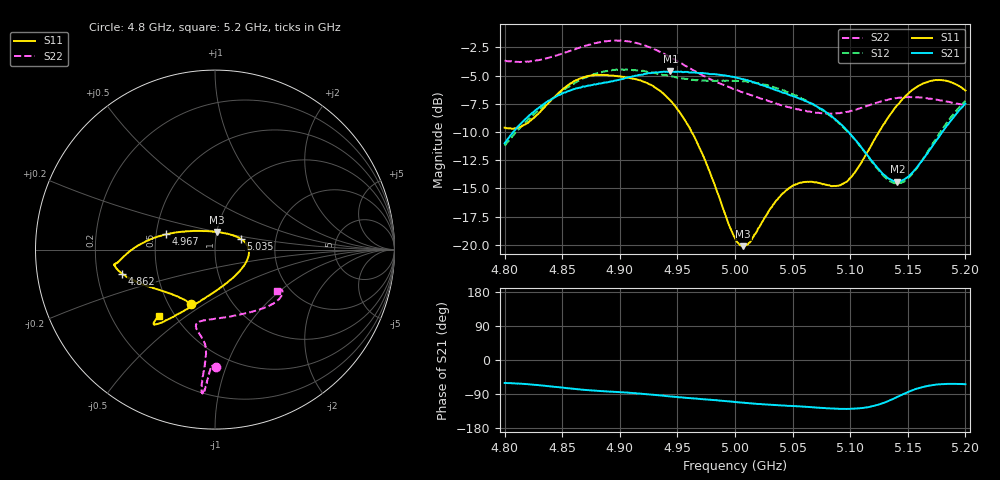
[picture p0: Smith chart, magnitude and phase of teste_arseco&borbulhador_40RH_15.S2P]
! Network Analyzer HP8722D
! Hewlett-Packard
! Data name: Linha & Wilkinson
! Saver's name: Rodrigo Anjos
! Comments: Teste da utilização de aquisição
! continua pelo VNA HP8722D
! Time and date: 15/4/2025 16:28
!  Frequency  S11  S21  S12  S22
# HZ  S  MA R 50
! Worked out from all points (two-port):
!   401 points, 4.8 GHz to 5.2 GHz, reference 50 ohm
!   highest |S21| = -4.63 dB at 4.944 GHz (marker M1); lowest = -14.4 dB at 5.141 GHz (marker M2)
!   |S21| within 3 dB of the highest: 4.833 GHz to 5.069 GHz (236.8 MHz wide, 4.78 % of centre); 5.198559 GHz to end of sweep
!   lowest |S11| = -20.1 dB at 5.007 GHz (marker M3), VSWR 1.22, Z = 50.1 + j9.92 ohm
!   |S11| at or under -10 dB: 4.962 GHz to 5.125 GHz (162.6 MHz wide, 3.22 % of centre)
!   |S22| runs from -8.4 to -1.9 dB; largest |S21 - S12| = 0.88
!   S11 on the Smith chart (normalised r, x): 4.8 GHz: 0.65, -0.44; 4.862 GHz: 0.31, -0.11; 4.967 GHz: 0.57, +0.10; 5.035 GHz: 1.32, +0.16; 5.2 GHz: 0.41, -0.40
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4.8e9  0.3306 -113.7  0.2817 -60.6  0.275 -175.0  0.6541 -89.5
4.819e9  0.3448 -133.6  0.3639 -63.5  0.3522 -173.2  0.648 -91.1
4.862e9  0.5359 -165.6  0.4936 -76.7  0.5252 -176.4  0.7403 -93.4
4.867e9  0.5495 -167.5  0.5001 -78.3  0.5422 -177.4  0.7537 -93.7
4.902e9  0.5552 -172.1  0.5428 -85.4  0.599 175.5  0.8026 -95.1
4.934e9  0.4853 -177.9  0.582 -93.3  0.5734 172.0  0.7197 -95.6
4.944e9  0.4359 177.6  0.5866 -96.1  0.5579 172.0  0.6777 -95.2
4.967e9  0.2849 162.6  0.5791 -102.0  0.5361 174.1  0.5805 -94.9
5e9  0.1072 107.2  0.5522 -111.0  0.5333 176.5  0.4876 -99.2
5.007e9  0.09863 83.8  0.5425 -112.6  0.5298 176.5  0.4737 -101.0
5.013e9  0.1025 64.8  0.5313 -114.1  0.5255 176.2  0.4622 -102.3
5.035e9  0.155 23.1  0.4852 -118.9  0.4971 175.2  0.4243 -103.8
5.05e9  0.1826 7.2  0.4562 -121.5  0.4653 174.5  0.4039 -100.4
5.067e9  0.1903 -11.2  0.4214 -124.5  0.422 173.9  0.3872 -92.0
5.086e9  0.1824 -41.6  0.363 -128.4  0.3614 173.6  0.3819 -77.7
5.098e9  0.1928 -66.9  0.3182 -128.9  0.3167 174.5  0.3889 -67.8
5.134e9  0.3729 -116.0  0.1959 -107.2  0.1918 -159.9  0.4417 -43.4
5.141e9  0.4164 -120.0  0.1907 -97.2  0.1873 -148.9  0.4478 -40.2
5.153e9  0.481 -124.9  0.2064 -81.1  0.2039 -130.3  0.4514 -35.9
5.17e9  0.5325 -128.5  0.2677 -66.9  0.2725 -113.2  0.4439 -32.0
5.184e9  0.5322 -129.8  0.3379 -63.0  0.3486 -107.2  0.4313 -31.1
5.2e9  0.4828 -130.3  0.4226 -63.9  0.4341 -106.0  0.4154 -33.4
